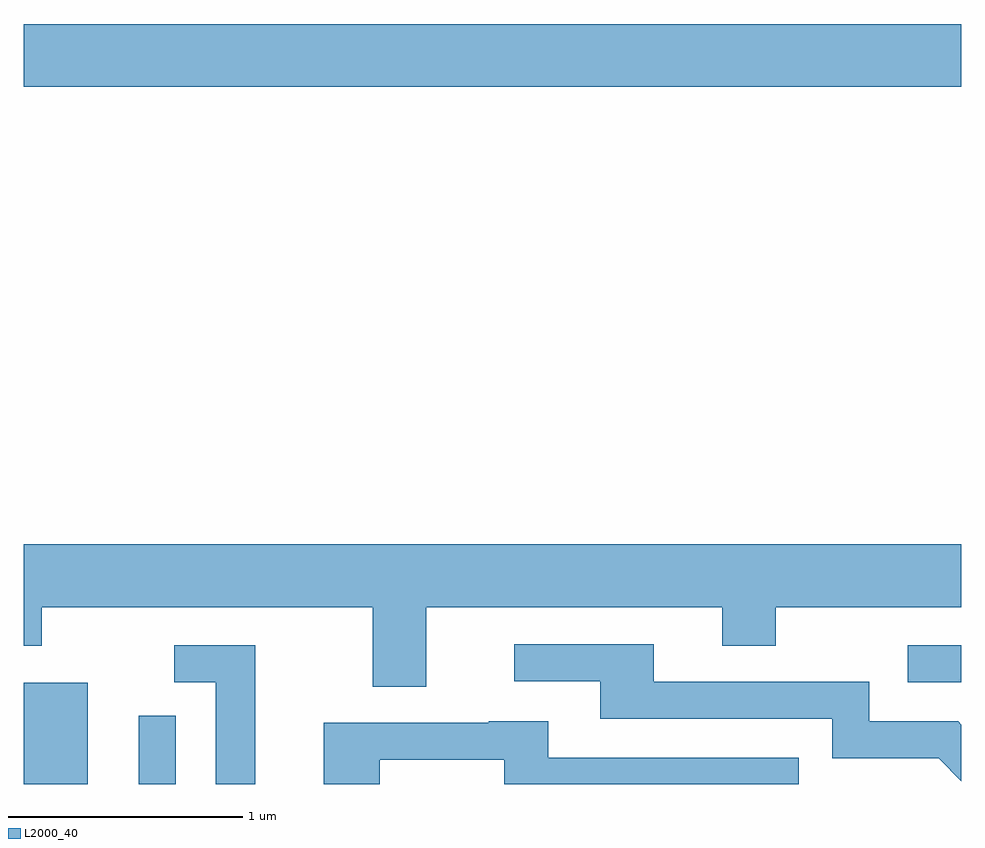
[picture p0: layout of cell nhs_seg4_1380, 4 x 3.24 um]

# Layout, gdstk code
import gdstk
lib = gdstk.Library(unit=1e-6, precision=1e-09)
def R(c, l, rs):  # rectangles x0, y0, x1, y1
    for r in rs: c.add(gdstk.rectangle(r[:2], r[2:], *l))
def P(c, l, *ps):  # polygons
    for p in ps: c.add(gdstk.Polygon(p, *l))
L2000_40 = (2000, 40)

nhs_seg4_1380 = lib.new_cell('nhs_seg4_1380')
R(nhs_seg4_1380, L2000_40, [(225.611,1293.982,225.884,1294.414), (226.101,1293.982,226.259,1294.273), (229.383,1294.416,229.611,1294.574), (225.611,1296.956,229.611,1297.224)])
P(nhs_seg4_1380, L2000_40, [(227.329,1294.736),(228.591,1294.736),(228.591,1294.571),(228.819,1294.571),(228.819,1294.736),(229.611,1294.736),(229.611,1295.004),(225.611,1295.004),(225.611,1294.571),(225.689,1294.571),(225.689,1294.736),(227.101,1294.736),(227.101,1294.396),(227.329,1294.396)],
  [(229.611,1294.235),(229.597,1294.249),(229.219,1294.249),(229.219,1294.419),(228.299,1294.419),(228.299,1294.579),(227.703,1294.579),(227.703,1294.421),(228.071,1294.421),(228.071,1294.261),(229.061,1294.261),(229.061,1294.091),(229.514,1294.091),(229.611,1293.994)],
  [(226.599,1294.574),(226.253,1294.574),(226.253,1294.416),(226.431,1294.416),(226.431,1293.982),(226.599,1293.982)],
  [(227.129,1294.086),(227.661,1294.086),(227.661,1293.982),(228.918,1293.982),(228.918,1294.094),(227.849,1294.094),(227.849,1294.249),(227.595,1294.249),(227.595,1294.244),(226.891,1294.244),(226.891,1293.982),(227.129,1293.982)])

lib.write_gds('nhs_seg4_1380.gds')
